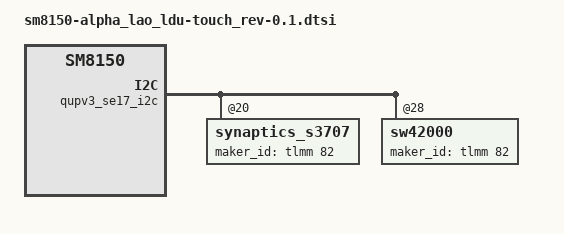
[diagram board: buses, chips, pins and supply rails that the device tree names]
/*
 * Copyright (c) 2018, The Linux Foundation. All rights reserved.
 *
 * This program is free software; you can redistribute it and/or modify
 * it under the terms of the GNU General Public License version 2 and
 * only version 2 as published by the Free Software Foundation.
 *
 * This program is distributed in the hope that it will be useful,
 * but WITHOUT ANY WARRANTY; without even the implied warranty of
 * MERCHANTABILITY or FITNESS FOR A PARTICULAR PURPOSE.  See the
 * GNU General Public License for more details.
 */

#include "../sm8150-alpha_common/sm8150-alpha_common-touch.dtsi"

&qupv3_se17_i2c {
	stm_ftm4@49 {
		status = "disable";
	};

	synaptics_s3707@20 {
		status = "ok";
		maker_id-gpio = <&tlmm 82 0x00>;
		/* Firmware */
		fw_image = "touch/alpha/PLG662-V0.08-PR2789051-s3707b_BLV86_DS5.10.81.1_50061108.img";
		panel_spec = "touch/alpha/alpha_limit.txt";
		panel_spec_mfts_folder = "touch/alpha/alpha_limit_mfts.txt";
	};

	sw42000@28 {
		status = "ok";
		maker_id-gpio = <&tlmm 82 0x00>;
		/* Firmware */
		fw_image = "touch/alpha/L0W60ALPHA_0_21.img";
		panel_spec = "touch/alpha/alpha_siw_limit.txt";
		panel_spec_mfts_folder = "touch/alpha/alpha_siw_limit_mfts.txt";
	};
};
